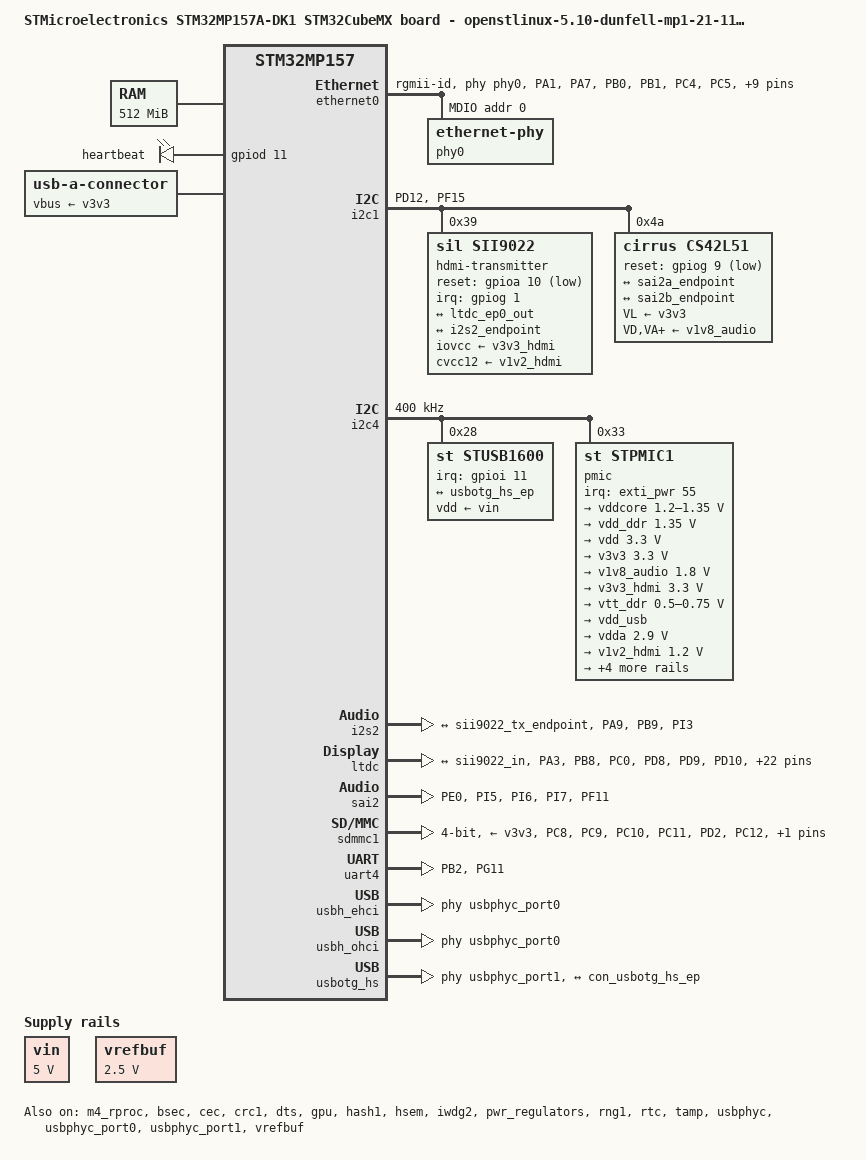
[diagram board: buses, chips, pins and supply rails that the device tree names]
/* SPDX-License-Identifier: (GPL-2.0+ OR BSD-3-Clause) */
/*
 * Copyright (C) STMicroelectronics 2021 - All Rights Reserved
 * Author: STM32CubeMX code generation for STMicroelectronics.
 */

/* For more information on Device Tree configuration, please refer to
 * https://wiki.st.com/stm32mpu/wiki/Category:Device_tree_configuration
 */

/dts-v1/;
#include <dt-bindings/pinctrl/stm32-pinfunc.h>

#include "stm32mp157.dtsi"
#include "stm32mp15xa.dtsi"
#include "stm32mp15xxac-pinctrl.dtsi"
#include "stm32mp15-m4-srm.dtsi"

/* USER CODE BEGIN includes */
#include <dt-bindings/gpio/gpio.h>
#include <dt-bindings/mfd/st,stpmic1.h>
/* USER CODE END includes */

/ {
	model = "STMicroelectronics STM32MP157A-DK1 STM32CubeMX board - openstlinux-5.10-dunfell-mp1-21-11-17";
	compatible = "st,stm32mp157a-dk1-mx", "st,stm32mp157";

	memory@c0000000 {
		device_type = "memory";
		reg = <0xc0000000 0x20000000>;

		/* USER CODE BEGIN memory */
		/* USER CODE END memory */
	};

	reserved-memory {
		#address-cells = <1>;
		#size-cells = <1>;
		ranges;

		/* USER CODE BEGIN reserved-memory */

		mcuram2:mcuram2@10000000{
			compatible = "shared-dma-pool";
			reg = <0x10000000 0x40000>;
			no-map;
		};

		vdev0vring0:vdev0vring0@10040000{
			compatible = "shared-dma-pool";
			reg = <0x10040000 0x1000>;
			no-map;
		};

		vdev0vring1:vdev0vring1@10041000{
			compatible = "shared-dma-pool";
			reg = <0x10041000 0x1000>;
			no-map;
		};

		vdev0buffer:vdev0buffer@10042000{
			compatible = "shared-dma-pool";
			reg = <0x10042000 0x4000>;
			no-map;
		};

		mcu_rsc_table:mcu_rsc_table@10048000{
			compatible = "shared-dma-pool";
			reg = <0x10048000 0x8000>;
			no-map;
		};

		mcuram:mcuram@30000000{
			compatible = "shared-dma-pool";
			reg = <0x30000000 0x40000>;
			no-map;
		};

		retram:retram@38000000{
			compatible = "shared-dma-pool";
			reg = <0x38000000 0x10000>;
			no-map;
		};

		gpu_reserved:gpu@d4000000{
			reg = <0xd4000000 0x4000000>;
			no-map;
		};
		/* USER CODE END reserved-memory */
	};

	/* USER CODE BEGIN root */

	aliases{
		ethernet0 = &ethernet0;
		serial0 = &uart4;
		serial1 = &usart3;
		serial2 = &uart7;
	};

	led{
		compatible = "gpio-leds";

		led-blue{
			label = "heartbeat";
			gpios = <&gpiod 11 GPIO_ACTIVE_HIGH>;
			linux,default-trigger = "heartbeat";
			default-state = "off";
		};
	};

	sound{
		compatible = "audio-graph-card";
		label = "STM32MP15-DK";
		routing = "Playback", "MCLK",
				"Capture", "MCLK",
				"MICL", "Mic Bias";
		dais = <&sai2a_port &sai2b_port &i2s2_port>;
		status = "okay";
	};

	usb_phy_tuning:usb-phy-tuning{
		st,hs-dc-level = <2>;
		st,fs-rftime-tuning;
		st,hs-rftime-reduction;
		st,hs-current-trim = <15>;
		st,hs-impedance-trim = <1>;
		st,squelch-level = <3>;
		st,hs-rx-offset = <2>;
		st,no-lsfs-sc;
	};

	vin:vin{
		compatible = "regulator-fixed";
		regulator-name = "vin";
		regulator-min-microvolt = <5000000>;
		regulator-max-microvolt = <5000000>;
		regulator-always-on;
	};

	chosen{
		stdout-path = "serial0:115200n8";
	};
	/* USER CODE END root */

	clocks {
		/* USER CODE BEGIN clocks */
		/* USER CODE END clocks */

#ifndef CONFIG_TFABOOT
		clk_lsi: clk-lsi {
			clock-frequency = <32000>;
		};
		clk_hsi: clk-hsi {
			clock-frequency = <64000000>;
		};
		clk_csi: clk-csi {
			clock-frequency = <4000000>;
		};
		clk_lse: clk-lse {
			clock-frequency = <32768>;
		};
		clk_hse: clk-hse {
			clock-frequency = <24000000>;
		};
#endif	/*CONFIG_TFABOOT*/
	};

}; /*root*/

&pinctrl {
	u-boot,dm-pre-reloc;

	adc_pins_mx: adc_mx-0 {
		pins {
			pinmux = <STM32_PINMUX('A', 4, ANALOG)>, /* ADC1_INP18 */
					 <STM32_PINMUX('A', 5, ANALOG)>; /* ADC1_INP19 */
		};
	};

	adc_sleep_pins_mx: adc_sleep_mx-0 {
		pins {
			pinmux = <STM32_PINMUX('A', 4, ANALOG)>, /* ADC1_INP18 */
					 <STM32_PINMUX('A', 5, ANALOG)>; /* ADC1_INP19 */
		};
	};

	eth1_pins_mx: eth1_mx-0 {
		pins1 {
			pinmux = <STM32_PINMUX('A', 1, AF11)>, /* ETH1_RX_CLK */
					 <STM32_PINMUX('A', 7, AF11)>, /* ETH1_RX_CTL */
					 <STM32_PINMUX('B', 0, AF11)>, /* ETH1_RXD2 */
					 <STM32_PINMUX('B', 1, AF11)>, /* ETH1_RXD3 */
					 <STM32_PINMUX('C', 4, AF11)>, /* ETH1_RXD0 */
					 <STM32_PINMUX('C', 5, AF11)>; /* ETH1_RXD1 */
			bias-disable;
		};
		pins2 {
			pinmux = <STM32_PINMUX('A', 2, AF11)>; /* ETH1_MDIO */
			bias-disable;
			drive-push-pull;
			slew-rate = <0>;
		};
		pins3 {
			pinmux = <STM32_PINMUX('B', 11, AF11)>, /* ETH1_TX_CTL */
					 <STM32_PINMUX('C', 1, AF11)>, /* ETH1_MDC */
					 <STM32_PINMUX('C', 2, AF11)>, /* ETH1_TXD2 */
					 <STM32_PINMUX('E', 2, AF11)>, /* ETH1_TXD3 */
					 <STM32_PINMUX('G', 4, AF11)>, /* ETH1_GTX_CLK */
					 <STM32_PINMUX('G', 5, AF11)>, /* ETH1_CLK125 */
					 <STM32_PINMUX('G', 13, AF11)>, /* ETH1_TXD0 */
					 <STM32_PINMUX('G', 14, AF11)>; /* ETH1_TXD1 */
			bias-disable;
			drive-push-pull;
			slew-rate = <2>;
		};
	};

	eth1_sleep_pins_mx: eth1_sleep_mx-0 {
		pins {
			pinmux = <STM32_PINMUX('A', 1, ANALOG)>, /* ETH1_RX_CLK */
					 <STM32_PINMUX('A', 2, ANALOG)>, /* ETH1_MDIO */
					 <STM32_PINMUX('A', 7, ANALOG)>, /* ETH1_RX_CTL */
					 <STM32_PINMUX('B', 0, ANALOG)>, /* ETH1_RXD2 */
					 <STM32_PINMUX('B', 1, ANALOG)>, /* ETH1_RXD3 */
					 <STM32_PINMUX('B', 11, ANALOG)>, /* ETH1_TX_CTL */
					 <STM32_PINMUX('C', 1, ANALOG)>, /* ETH1_MDC */
					 <STM32_PINMUX('C', 2, ANALOG)>, /* ETH1_TXD2 */
					 <STM32_PINMUX('C', 4, ANALOG)>, /* ETH1_RXD0 */
					 <STM32_PINMUX('C', 5, ANALOG)>, /* ETH1_RXD1 */
					 <STM32_PINMUX('E', 2, ANALOG)>, /* ETH1_TXD3 */
					 <STM32_PINMUX('G', 4, ANALOG)>, /* ETH1_GTX_CLK */
					 <STM32_PINMUX('G', 5, ANALOG)>, /* ETH1_CLK125 */
					 <STM32_PINMUX('G', 13, ANALOG)>, /* ETH1_TXD0 */
					 <STM32_PINMUX('G', 14, ANALOG)>; /* ETH1_TXD1 */
		};
	};

	hdmi_cec_pins_mx: hdmi_cec_mx-0 {
		pins {
			pinmux = <STM32_PINMUX('B', 6, AF5)>; /* CEC */
			bias-disable;
			drive-open-drain;
			slew-rate = <0>;
		};
	};

	hdmi_cec_sleep_pins_mx: hdmi_cec_sleep_mx-0 {
		pins {
			pinmux = <STM32_PINMUX('B', 6, ANALOG)>; /* CEC */
		};
	};

	i2c1_pins_mx: i2c1_mx-0 {
		pins {
			pinmux = <STM32_PINMUX('D', 12, AF5)>, /* I2C1_SCL */
					 <STM32_PINMUX('F', 15, AF5)>; /* I2C1_SDA */
			bias-disable;
			drive-open-drain;
			slew-rate = <0>;
		};
	};

	i2c1_sleep_pins_mx: i2c1_sleep_mx-0 {
		pins {
			pinmux = <STM32_PINMUX('D', 12, ANALOG)>, /* I2C1_SCL */
					 <STM32_PINMUX('F', 15, ANALOG)>; /* I2C1_SDA */
		};
	};

	i2s2_pins_mx: i2s2_mx-0 {
		pins {
			pinmux = <STM32_PINMUX('A', 9, AF5)>, /* I2S2_CK */
					 <STM32_PINMUX('B', 9, AF5)>, /* I2S2_WS */
					 <STM32_PINMUX('I', 3, AF5)>; /* I2S2_SDO */
			bias-disable;
			drive-push-pull;
			slew-rate = <1>;
		};
	};

	i2s2_sleep_pins_mx: i2s2_sleep_mx-0 {
		pins {
			pinmux = <STM32_PINMUX('A', 9, ANALOG)>, /* I2S2_CK */
					 <STM32_PINMUX('B', 9, ANALOG)>, /* I2S2_WS */
					 <STM32_PINMUX('I', 3, ANALOG)>; /* I2S2_SDO */
		};
	};

	ltdc_pins_mx: ltdc_mx-0 {
		pins {
			pinmux = <STM32_PINMUX('A', 3, AF14)>, /* LTDC_B5 */
					 <STM32_PINMUX('B', 8, AF14)>, /* LTDC_B6 */
					 <STM32_PINMUX('C', 0, AF14)>, /* LTDC_R5 */
					 <STM32_PINMUX('D', 8, AF14)>, /* LTDC_B7 */
					 <STM32_PINMUX('D', 9, AF14)>, /* LTDC_B0 */
					 <STM32_PINMUX('D', 10, AF14)>, /* LTDC_B3 */
					 <STM32_PINMUX('E', 5, AF14)>, /* LTDC_G0 */
					 <STM32_PINMUX('E', 6, AF14)>, /* LTDC_G1 */
					 <STM32_PINMUX('E', 15, AF14)>, /* LTDC_R7 */
					 <STM32_PINMUX('F', 10, AF14)>, /* LTDC_DE */
					 <STM32_PINMUX('G', 7, AF14)>, /* LTDC_CLK */
					 <STM32_PINMUX('G', 10, AF14)>, /* LTDC_B2 */
					 <STM32_PINMUX('G', 12, AF14)>, /* LTDC_B1 */
					 <STM32_PINMUX('H', 2, AF14)>, /* LTDC_R0 */
					 <STM32_PINMUX('H', 3, AF14)>, /* LTDC_R1 */
					 <STM32_PINMUX('H', 8, AF14)>, /* LTDC_R2 */
					 <STM32_PINMUX('H', 9, AF14)>, /* LTDC_R3 */
					 <STM32_PINMUX('H', 10, AF14)>, /* LTDC_R4 */
					 <STM32_PINMUX('H', 12, AF14)>, /* LTDC_R6 */
					 <STM32_PINMUX('H', 13, AF14)>, /* LTDC_G2 */
					 <STM32_PINMUX('H', 14, AF14)>, /* LTDC_G3 */
					 <STM32_PINMUX('H', 15, AF14)>, /* LTDC_G4 */
					 <STM32_PINMUX('I', 0, AF14)>, /* LTDC_G5 */
					 <STM32_PINMUX('I', 1, AF14)>, /* LTDC_G6 */
					 <STM32_PINMUX('I', 2, AF14)>, /* LTDC_G7 */
					 <STM32_PINMUX('I', 4, AF14)>, /* LTDC_B4 */
					 <STM32_PINMUX('I', 9, AF14)>, /* LTDC_VSYNC */
					 <STM32_PINMUX('I', 10, AF14)>; /* LTDC_HSYNC */
			bias-disable;
			drive-push-pull;
			slew-rate = <1>;
		};
	};

	ltdc_sleep_pins_mx: ltdc_sleep_mx-0 {
		pins {
			pinmux = <STM32_PINMUX('A', 3, ANALOG)>, /* LTDC_B5 */
					 <STM32_PINMUX('B', 8, ANALOG)>, /* LTDC_B6 */
					 <STM32_PINMUX('C', 0, ANALOG)>, /* LTDC_R5 */
					 <STM32_PINMUX('D', 8, ANALOG)>, /* LTDC_B7 */
					 <STM32_PINMUX('D', 9, ANALOG)>, /* LTDC_B0 */
					 <STM32_PINMUX('D', 10, ANALOG)>, /* LTDC_B3 */
					 <STM32_PINMUX('E', 5, ANALOG)>, /* LTDC_G0 */
					 <STM32_PINMUX('E', 6, ANALOG)>, /* LTDC_G1 */
					 <STM32_PINMUX('E', 15, ANALOG)>, /* LTDC_R7 */
					 <STM32_PINMUX('F', 10, ANALOG)>, /* LTDC_DE */
					 <STM32_PINMUX('G', 7, ANALOG)>, /* LTDC_CLK */
					 <STM32_PINMUX('G', 10, ANALOG)>, /* LTDC_B2 */
					 <STM32_PINMUX('G', 12, ANALOG)>, /* LTDC_B1 */
					 <STM32_PINMUX('H', 2, ANALOG)>, /* LTDC_R0 */
					 <STM32_PINMUX('H', 3, ANALOG)>, /* LTDC_R1 */
					 <STM32_PINMUX('H', 8, ANALOG)>, /* LTDC_R2 */
					 <STM32_PINMUX('H', 9, ANALOG)>, /* LTDC_R3 */
					 <STM32_PINMUX('H', 10, ANALOG)>, /* LTDC_R4 */
					 <STM32_PINMUX('H', 12, ANALOG)>, /* LTDC_R6 */
					 <STM32_PINMUX('H', 13, ANALOG)>, /* LTDC_G2 */
					 <STM32_PINMUX('H', 14, ANALOG)>, /* LTDC_G3 */
					 <STM32_PINMUX('H', 15, ANALOG)>, /* LTDC_G4 */
					 <STM32_PINMUX('I', 0, ANALOG)>, /* LTDC_G5 */
					 <STM32_PINMUX('I', 1, ANALOG)>, /* LTDC_G6 */
					 <STM32_PINMUX('I', 2, ANALOG)>, /* LTDC_G7 */
					 <STM32_PINMUX('I', 4, ANALOG)>, /* LTDC_B4 */
					 <STM32_PINMUX('I', 9, ANALOG)>, /* LTDC_VSYNC */
					 <STM32_PINMUX('I', 10, ANALOG)>; /* LTDC_HSYNC */
		};
	};

	sai2a_pins_mx: sai2a_mx-0 {
		pins {
			pinmux = <STM32_PINMUX('E', 0, AF10)>, /* SAI2_MCLK_A */
					 <STM32_PINMUX('I', 5, AF10)>, /* SAI2_SCK_A */
					 <STM32_PINMUX('I', 6, AF10)>, /* SAI2_SD_A */
					 <STM32_PINMUX('I', 7, AF10)>; /* SAI2_FS_A */
			bias-disable;
			drive-push-pull;
			slew-rate = <0>;
		};
	};

	sai2a_sleep_pins_mx: sai2a_sleep_mx-0 {
		pins {
			pinmux = <STM32_PINMUX('E', 0, ANALOG)>, /* SAI2_MCLK_A */
					 <STM32_PINMUX('I', 5, ANALOG)>, /* SAI2_SCK_A */
					 <STM32_PINMUX('I', 6, ANALOG)>, /* SAI2_SD_A */
					 <STM32_PINMUX('I', 7, ANALOG)>; /* SAI2_FS_A */
		};
	};

	sai2b_pins_mx: sai2b_mx-0 {
		pins {
			pinmux = <STM32_PINMUX('F', 11, AF10)>; /* SAI2_SD_B */
			bias-disable;
			drive-push-pull;
			slew-rate = <0>;
		};
	};

	sai2b_sleep_pins_mx: sai2b_sleep_mx-0 {
		pins {
			pinmux = <STM32_PINMUX('F', 11, ANALOG)>; /* SAI2_SD_B */
		};
	};

	sdmmc1_pins_mx: sdmmc1_mx-0 {
		u-boot,dm-pre-reloc;
		pins1 {
			u-boot,dm-pre-reloc;
			pinmux = <STM32_PINMUX('C', 8, AF12)>, /* SDMMC1_D0 */
					 <STM32_PINMUX('C', 9, AF12)>, /* SDMMC1_D1 */
					 <STM32_PINMUX('C', 10, AF12)>, /* SDMMC1_D2 */
					 <STM32_PINMUX('C', 11, AF12)>, /* SDMMC1_D3 */
					 <STM32_PINMUX('D', 2, AF12)>; /* SDMMC1_CMD */
			bias-disable;
			drive-push-pull;
			slew-rate = <1>;
		};
		pins2 {
			u-boot,dm-pre-reloc;
			pinmux = <STM32_PINMUX('C', 12, AF12)>; /* SDMMC1_CK */
			bias-disable;
			drive-push-pull;
			slew-rate = <2>;
		};
	};

	sdmmc1_opendrain_pins_mx: sdmmc1_opendrain_mx-0 {
		u-boot,dm-pre-reloc;
		pins1 {
			u-boot,dm-pre-reloc;
			pinmux = <STM32_PINMUX('C', 8, AF12)>, /* SDMMC1_D0 */
					 <STM32_PINMUX('C', 9, AF12)>, /* SDMMC1_D1 */
					 <STM32_PINMUX('C', 10, AF12)>, /* SDMMC1_D2 */
					 <STM32_PINMUX('C', 11, AF12)>; /* SDMMC1_D3 */
			bias-disable;
			drive-push-pull;
			slew-rate = <1>;
		};
		pins2 {
			u-boot,dm-pre-reloc;
			pinmux = <STM32_PINMUX('C', 12, AF12)>; /* SDMMC1_CK */
			bias-disable;
			drive-push-pull;
			slew-rate = <2>;
		};
		pins3 {
			u-boot,dm-pre-reloc;
			pinmux = <STM32_PINMUX('D', 2, AF12)>; /* SDMMC1_CMD */
			bias-disable;
			drive-open-drain;
			slew-rate = <1>;
		};
	};

	sdmmc1_sleep_pins_mx: sdmmc1_sleep_mx-0 {
		u-boot,dm-pre-reloc;
		pins {
			u-boot,dm-pre-reloc;
			pinmux = <STM32_PINMUX('C', 8, ANALOG)>, /* SDMMC1_D0 */
					 <STM32_PINMUX('C', 9, ANALOG)>, /* SDMMC1_D1 */
					 <STM32_PINMUX('C', 10, ANALOG)>, /* SDMMC1_D2 */
					 <STM32_PINMUX('C', 11, ANALOG)>, /* SDMMC1_D3 */
					 <STM32_PINMUX('C', 12, ANALOG)>, /* SDMMC1_CK */
					 <STM32_PINMUX('D', 2, ANALOG)>; /* SDMMC1_CMD */
		};
	};

	uart4_pins_mx: uart4_mx-0 {
		u-boot,dm-pre-reloc;
		pins1 {
			u-boot,dm-pre-reloc;
			pinmux = <STM32_PINMUX('B', 2, AF8)>; /* UART4_RX */
			bias-disable;
		};
		pins2 {
			u-boot,dm-pre-reloc;
			pinmux = <STM32_PINMUX('G', 11, AF6)>; /* UART4_TX */
			bias-disable;
			drive-push-pull;
			slew-rate = <0>;
		};
	};

	uart4_sleep_pins_mx: uart4_sleep_mx-0 {
		u-boot,dm-pre-reloc;
		pins {
			u-boot,dm-pre-reloc;
			pinmux = <STM32_PINMUX('B', 2, ANALOG)>, /* UART4_RX */
					 <STM32_PINMUX('G', 11, ANALOG)>; /* UART4_TX */
		};
	};

	/* USER CODE BEGIN pinctrl */
	/* USER CODE END pinctrl */
};

&pinctrl_z {
	u-boot,dm-pre-reloc;

	i2c4_pins_z_mx: i2c4_mx-0 {
		u-boot,dm-pre-reloc;
		pins {
			u-boot,dm-pre-reloc;
			pinmux = <STM32_PINMUX('Z', 4, AF6)>, /* I2C4_SCL */
					 <STM32_PINMUX('Z', 5, AF6)>; /* I2C4_SDA */
			bias-disable;
			drive-open-drain;
			slew-rate = <0>;
		};
	};

	i2c4_sleep_pins_z_mx: i2c4_sleep_mx-0 {
		u-boot,dm-pre-reloc;
		pins {
			u-boot,dm-pre-reloc;
			pinmux = <STM32_PINMUX('Z', 4, ANALOG)>, /* I2C4_SCL */
					 <STM32_PINMUX('Z', 5, ANALOG)>; /* I2C4_SDA */
		};
	};

	/* USER CODE BEGIN pinctrl_z */
	/* USER CODE END pinctrl_z */
};

&m4_rproc{
	/*Restriction: "memory-region" property is not managed - please to use User-Section if needed*/
	mboxes = <&ipcc 0>, <&ipcc 1>, <&ipcc 2>;
	mbox-names = "vq0", "vq1", "shutdown";
	status = "okay";

	/* USER CODE BEGIN m4_rproc */
	memory-region = <&retram>, <&mcuram>, <&mcuram2>, <&vdev0vring0>,
			<&vdev0vring1>, <&vdev0buffer>, <&mcu_rsc_table>;
	interrupt-parent = <&exti>;
	interrupts = <68 1>;
	wakeup-source;
	/* USER CODE END m4_rproc */
};

&adc{
	pinctrl-names = "default", "sleep";
	pinctrl-0 = <&adc_pins_mx>;
	pinctrl-1 = <&adc_sleep_pins_mx>;
	status = "okay";

	/* USER CODE BEGIN adc */
	vdd-supply = <&vdd>;
	vdda-supply = <&vdd>;
	vref-supply = <&vrefbuf>;

	adc1:adc@0{
		st,min-sample-time-nsecs = <5000>;
		st,adc-channels = <0 1 6 13 18 19>;
		status = "okay";
	};

	adc2:adc@100{
		st,adc-channels = <0 1 2 6 18 19>;
		st,min-sample-time-nsecs = <5000>;
		status = "okay";
	};
	/* USER CODE END adc */
};

&bsec{
	status = "okay";

	/* USER CODE BEGIN bsec */
	/* USER CODE END bsec */
};

&cec{
	pinctrl-names = "default", "sleep";
	pinctrl-0 = <&hdmi_cec_pins_mx>;
	pinctrl-1 = <&hdmi_cec_sleep_pins_mx>;
	status = "okay";

	/* USER CODE BEGIN cec */
	/* USER CODE END cec */
};

&crc1{
	status = "okay";

	/* USER CODE BEGIN crc1 */
	/* USER CODE END crc1 */
};

&dma1{
	status = "okay";

	/* USER CODE BEGIN dma1 */
	sram = <&dma_pool>;
	/* USER CODE END dma1 */
};

&dma2{
	status = "okay";

	/* USER CODE BEGIN dma2 */
	sram = <&dma_pool>;
	/* USER CODE END dma2 */
};

&dmamux1{
	status = "okay";

	dma-masters = <&dma1 &dma2>;
	dma-channels = <16>;

	/* USER CODE BEGIN dmamux1 */
	/* USER CODE END dmamux1 */
};

&dts{
	status = "okay";

	/* USER CODE BEGIN dts */
	/* USER CODE END dts */
};

&ethernet0{
	pinctrl-names = "default", "sleep";
	pinctrl-0 = <&eth1_pins_mx>;
	pinctrl-1 = <&eth1_sleep_pins_mx>;
	status = "okay";

	/* USER CODE BEGIN ethernet0 */
	phy-mode = "rgmii-id";
	max-speed = <1000>;
	phy-handle = <&phy0>;
	nvmem-cells = <&ethernet_mac_address>;
	nvmem-cell-names = "mac-address";

	mdio0{
		#address-cells = <1>;
		#size-cells = <0>;
		compatible = "snps,dwmac-mdio";

		phy0:ethernet-phy@0{
			reg = <0>;
		};
	};
	/* USER CODE END ethernet0 */
};

&gpu{
	status = "okay";

	/* USER CODE BEGIN gpu */
	contiguous-area = <&gpu_reserved>;
	/* USER CODE END gpu */
};

&hash1{
	u-boot,dm-pre-reloc;
	status = "okay";

	/* USER CODE BEGIN hash1 */
	/* USER CODE END hash1 */
};

&hsem{
	status = "okay";

	/* USER CODE BEGIN hsem */
	/* USER CODE END hsem */
};

&i2c1{
	pinctrl-names = "default", "sleep";
	pinctrl-0 = <&i2c1_pins_mx>;
	pinctrl-1 = <&i2c1_sleep_pins_mx>;
	status = "okay";

	/* USER CODE BEGIN i2c1 */
	i2c-scl-rising-time-ns = <100>;
	i2c-scl-falling-time-ns = <7>;
	/delete-property/ dmas;
	/delete-property/ dma-names;

	hdmi-transmitter@39{
		compatible = "sil,sii9022";
		reg = <0x39>;
		iovcc-supply = <&v3v3_hdmi>;
		cvcc12-supply = <&v1v2_hdmi>;
		reset-gpios = <&gpioa 10 GPIO_ACTIVE_LOW>;
		interrupts = <1 IRQ_TYPE_EDGE_FALLING>;
		interrupt-parent = <&gpiog>;
		#sound-dai-cells = <0>;
		status = "okay";

		ports{
			#address-cells = <1>;
			#size-cells = <0>;

			port@0{
				reg = <0>;

				sii9022_in:endpoint{
					remote-endpoint = <&ltdc_ep0_out>;
				};
			};

			port@3{
				reg = <3>;

				sii9022_tx_endpoint:endpoint{
					remote-endpoint = <&i2s2_endpoint>;
				};
			};
		};
	};

	cs42l51:cs42l51@4a{
		compatible = "cirrus,cs42l51";
		reg = <0x4a>;
		#sound-dai-cells = <0>;
		VL-supply = <&v3v3>;
		VD-supply = <&v1v8_audio>;
		VA-supply = <&v1v8_audio>;
		VAHP-supply = <&v1v8_audio>;
		reset-gpios = <&gpiog 9 GPIO_ACTIVE_LOW>;
		clocks = <&sai2a>;
		clock-names = "MCLK";
		status = "okay";

		cs42l51_port:port{
			#address-cells = <1>;
			#size-cells = <0>;

			cs42l51_tx_endpoint:endpoint@0{
				reg = <0>;
				remote-endpoint = <&sai2a_endpoint>;
				frame-master;
				bitclock-master;
			};

			cs42l51_rx_endpoint:endpoint@1{
				reg = <1>;
				remote-endpoint = <&sai2b_endpoint>;
				frame-master;
				bitclock-master;
			};
		};
	};
	/* USER CODE END i2c1 */
};

&i2c4{
	u-boot,dm-pre-reloc;
	pinctrl-names = "default", "sleep";
	pinctrl-0 = <&i2c4_pins_z_mx>;
	pinctrl-1 = <&i2c4_sleep_pins_z_mx>;
	status = "okay";

	/* USER CODE BEGIN i2c4 */
	i2c-scl-rising-time-ns = <185>;
	i2c-scl-falling-time-ns = <20>;
	clock-frequency = <400000>;
	/delete-property/ dmas;
	/delete-property/ dma-names;

	stusb1600@28{
		compatible = "st,stusb1600";
		reg = <0x28>;
		interrupts = <11 IRQ_TYPE_LEVEL_LOW>;
		interrupt-parent = <&gpioi>;
		pinctrl-names = "default";
		pinctrl-0 = <&stusb1600_pins_a>;
		status = "okay";
		vdd-supply = <&vin>;

		connector{
			compatible = "usb-c-connector";
			label = "USB-C";
			power-role = "dual";
			typec-power-opmode = "default";

			port{

				con_usbotg_hs_ep:endpoint{
					remote-endpoint = <&usbotg_hs_ep>;
				};
			};
		};
	};

	pmic:stpmic@33{
		compatible = "st,stpmic1";
		reg = <0x33>;
		interrupts-extended = <&exti_pwr 55 IRQ_TYPE_EDGE_FALLING>;
		interrupt-controller;
		#interrupt-cells = <2>;
		status = "okay";

		regulators{
			compatible = "st,stpmic1-regulators";
			buck1-supply = <&vin>;
			buck2-supply = <&vin>;
			buck3-supply = <&vin>;
			buck4-supply = <&vin>;
			ldo1-supply = <&v3v3>;
			ldo2-supply = <&vin>;
			ldo3-supply = <&vdd_ddr>;
			ldo4-supply = <&vin>;
			ldo5-supply = <&vin>;
			ldo6-supply = <&v3v3>;
			vref_ddr-supply = <&vin>;
			boost-supply = <&vin>;
			pwr_sw1-supply = <&bst_out>;
			pwr_sw2-supply = <&bst_out>;

			vddcore:buck1{
				regulator-name = "vddcore";
				regulator-min-microvolt = <1200000>;
				regulator-max-microvolt = <1350000>;
				regulator-always-on;
				regulator-initial-mode = <0>;
				regulator-over-current-protection;
			};

			vdd_ddr:buck2{
				regulator-name = "vdd_ddr";
				regulator-min-microvolt = <1350000>;
				regulator-max-microvolt = <1350000>;
				regulator-always-on;
				regulator-initial-mode = <0>;
				regulator-over-current-protection;
			};

			vdd:buck3{
				regulator-name = "vdd";
				regulator-min-microvolt = <3300000>;
				regulator-max-microvolt = <3300000>;
				regulator-always-on;
				st,mask-reset;
				regulator-initial-mode = <0>;
				regulator-over-current-protection;
			};

			v3v3:buck4{
				regulator-name = "v3v3";
				regulator-min-microvolt = <3300000>;
				regulator-max-microvolt = <3300000>;
				regulator-always-on;
				regulator-over-current-protection;
				regulator-initial-mode = <0>;
			};

			v1v8_audio:ldo1{
				regulator-name = "v1v8_audio";
				regulator-min-microvolt = <1800000>;
				regulator-max-microvolt = <1800000>;
				regulator-always-on;
				interrupts = <IT_CURLIM_LDO1 0>;
			};

			v3v3_hdmi:ldo2{
				regulator-name = "v3v3_hdmi";
				regulator-min-microvolt = <3300000>;
				regulator-max-microvolt = <3300000>;
				regulator-always-on;
				interrupts = <IT_CURLIM_LDO2 0>;
			};

			vtt_ddr:ldo3{
				regulator-name = "vtt_ddr";
				regulator-min-microvolt = <500000>;
				regulator-max-microvolt = <750000>;
				regulator-always-on;
				regulator-over-current-protection;
			};

			vdd_usb:ldo4{
				regulator-name = "vdd_usb";
				interrupts = <IT_CURLIM_LDO4 0>;
			};

			vdda:ldo5{
				regulator-name = "vdda";
				regulator-min-microvolt = <2900000>;
				regulator-max-microvolt = <2900000>;
				interrupts = <IT_CURLIM_LDO5 0>;
				regulator-boot-on;
			};

			v1v2_hdmi:ldo6{
				regulator-name = "v1v2_hdmi";
				regulator-min-microvolt = <1200000>;
				regulator-max-microvolt = <1200000>;
				regulator-always-on;
				interrupts = <IT_CURLIM_LDO6 0>;
			};

			vref_ddr:vref_ddr{
				regulator-name = "vref_ddr";
				regulator-always-on;
				regulator-over-current-protection;
			};

			bst_out:boost{
				regulator-name = "bst_out";
				interrupts = <IT_OCP_BOOST 0>;
			};

			vbus_otg:pwr_sw1{
				regulator-name = "vbus_otg";
				interrupts = <IT_OCP_OTG 0>;
			};

			vbus_sw:pwr_sw2{
				regulator-name = "vbus_sw";
				interrupts = <IT_OCP_SWOUT 0>;
				regulator-active-discharge = <1>;
			};
		};

		onkey{
			compatible = "st,stpmic1-onkey";
			interrupts = <IT_PONKEY_F 0>, <IT_PONKEY_R 0>;
			interrupt-names = "onkey-falling", "onkey-rising";
			power-off-time-sec = <10>;
			status = "okay";
		};

		watchdog{
			compatible = "st,stpmic1-wdt";
			status = "disabled";
		};
	};
	/* USER CODE END i2c4 */
};

&i2s2{
	pinctrl-names = "default", "sleep";
	pinctrl-0 = <&i2s2_pins_mx>;
	pinctrl-1 = <&i2s2_sleep_pins_mx>;
	status = "okay";

	/* USER CODE BEGIN i2s2 */
	clocks = <&rcc SPI2>, <&rcc SPI2_K>, <&rcc PLL3_Q>, <&rcc PLL3_R>;
	clock-names = "pclk", "i2sclk", "x8k", "x11k";

	i2s2_port:port{

		i2s2_endpoint:endpoint{
			remote-endpoint = <&sii9022_tx_endpoint>;
			format = "i2s";
			mclk-fs = <256>;
		};
	};
	/* USER CODE END i2s2 */
};

&ipcc{
	status = "okay";

	/* USER CODE BEGIN ipcc */
	/* USER CODE END ipcc */
};

&iwdg2{
	u-boot,dm-pre-reloc;
	status = "okay";

	/* USER CODE BEGIN iwdg2 */
	timeout-sec = <32>;
	/* USER CODE END iwdg2 */
};

&ltdc{
	pinctrl-names = "default", "sleep";
	pinctrl-0 = <&ltdc_pins_mx>;
	pinctrl-1 = <&ltdc_sleep_pins_mx>;
	status = "okay";

	/* USER CODE BEGIN ltdc */

	port{

		ltdc_ep0_out:endpoint@0{
			reg = <0>;
			remote-endpoint = <&sii9022_in>;
		};
	};
	/* USER CODE END ltdc */
};

&mdma1{
	status = "okay";

	/* USER CODE BEGIN mdma1 */
	/* USER CODE END mdma1 */
};

&pwr_regulators{
	status = "okay";

	/* USER CODE BEGIN pwr_regulators */
	vdd-supply = <&vdd>;
	vdd_3v3_usbfs-supply = <&vdd_usb>;
	/* USER CODE END pwr_regulators */
};

&rcc{
	u-boot,dm-pre-reloc;
	status = "okay";

	/* USER CODE BEGIN rcc */
	/* USER CODE END rcc */
};

&rng1{
	status = "okay";

	/* USER CODE BEGIN rng1 */
	/* USER CODE END rng1 */
};

&rtc{
	status = "okay";

	/* USER CODE BEGIN rtc */
	/* USER CODE END rtc */
};

&sai2{
	pinctrl-names = "default", "sleep";
	pinctrl-0 = <&sai2a_pins_mx>, <&sai2b_pins_mx>;
	pinctrl-1 = <&sai2a_sleep_pins_mx>, <&sai2b_sleep_pins_mx>;
	status = "okay";

	/* USER CODE BEGIN sai2 */
	clocks = <&rcc SAI2>, <&rcc PLL3_Q>, <&rcc PLL3_R>;
	clock-names = "pclk", "x8k", "x11k";
	/* USER CODE END sai2 */

	sai2a:audio-controller@4400b004{
		status = "okay";

		/* USER CODE BEGIN sai2a */
		#clock-cells = <0>;
		dma-names = "tx";

		sai2a_port:port{

			sai2a_endpoint:endpoint{
				remote-endpoint = <&cs42l51_tx_endpoint>;
				format = "i2s";
				mclk-fs = <256>;
				dai-tdm-slot-num = <2>;
				dai-tdm-slot-width = <32>;
			};
		};
		/* USER CODE END sai2a */
	};

	sai2b:audio-controller@4400b024{
		status = "okay";

		/* USER CODE BEGIN sai2b */
		dma-names = "rx";
		st,sync = <&sai2a 2>;
		clocks = <&rcc SAI2_K>, <&sai2a>;
		clock-names = "sai_ck", "MCLK";

		sai2b_port:port{

			sai2b_endpoint:endpoint{
				remote-endpoint = <&cs42l51_rx_endpoint>;
				format = "i2s";
				mclk-fs = <256>;
				dai-tdm-slot-num = <2>;
				dai-tdm-slot-width = <32>;
			};
		};
		/* USER CODE END sai2b */
	};
};

&sdmmc1{
	u-boot,dm-pre-reloc;
	pinctrl-names = "default", "opendrain", "sleep";
	pinctrl-0 = <&sdmmc1_pins_mx>;
	pinctrl-1 = <&sdmmc1_opendrain_pins_mx>;
	pinctrl-2 = <&sdmmc1_sleep_pins_mx>;
	status = "okay";

	/* USER CODE BEGIN sdmmc1 */
	cd-gpios = <&gpiob 7 (GPIO_ACTIVE_LOW | GPIO_PULL_UP)>;
	disable-wp;
	st,neg-edge;
	bus-width = <4>;
	vmmc-supply = <&v3v3>;
	/* USER CODE END sdmmc1 */
};

&tamp{
	status = "okay";

	/* USER CODE BEGIN tamp */
	/* USER CODE END tamp */
};

&uart4{
	u-boot,dm-pre-reloc;
	pinctrl-names = "default", "sleep";
	pinctrl-0 = <&uart4_pins_mx>;
	pinctrl-1 = <&uart4_sleep_pins_mx>;
	status = "okay";

	/* USER CODE BEGIN uart4 */
	/delete-property/ dmas;
	/delete-property/ dma-names;
	/* USER CODE END uart4 */
};

&usbh_ehci{
	status = "okay";

	/* USER CODE BEGIN usbh_ehci */
	phys = <&usbphyc_port0>;
	/* USER CODE END usbh_ehci */
};

&usbh_ohci{
	status = "okay";

	/* USER CODE BEGIN usbh_ohci */
	/* USER CODE END usbh_ohci */
};

&usbotg_hs{
	u-boot,dm-pre-reloc;
	status = "okay";

	/* USER CODE BEGIN usbotg_hs */
	phys = <&usbphyc_port1 0>;
	phy-names = "usb2-phy";
	usb-role-switch;

	port{

		usbotg_hs_ep:endpoint{
			remote-endpoint = <&con_usbotg_hs_ep>;
		};
	};
	/* USER CODE END usbotg_hs */
};

&usbphyc{
	u-boot,dm-pre-reloc;
	status = "okay";

	/* USER CODE BEGIN usbphyc */
	/* USER CODE END usbphyc */
};

&usbphyc_port0{
	u-boot,dm-pre-reloc;
	status = "okay";

	/* USER CODE BEGIN usbphyc_port0 */
	phy-supply = <&vdd_usb>;
	st,phy-tuning = <&usb_phy_tuning>;

	connector{
		compatible = "usb-a-connector";
		vbus-supply = <&v3v3>;
	};
	/* USER CODE END usbphyc_port0 */
};

&usbphyc_port1{
	u-boot,dm-pre-reloc;
	status = "okay";

	/* USER CODE BEGIN usbphyc_port1 */
	phy-supply = <&vdd_usb>;
	st,phy-tuning = <&usb_phy_tuning>;
	/* USER CODE END usbphyc_port1 */
};

&vrefbuf{
	status = "okay";

	/* USER CODE BEGIN vrefbuf */
	regulator-min-microvolt = <2500000>;
	regulator-max-microvolt = <2500000>;
	vdda-supply = <&vdd>;
	/* USER CODE END vrefbuf */
};

/* USER CODE BEGIN addons */

&cpu0{
	cpu-supply = <&vddcore>;
};

&cpu1{
	cpu-supply = <&vddcore>;
};

&sram{

	dma_pool:dma_pool@0{
		reg = <0x50000 0x10000>;
		pool;
	};
};

&adc {
	status = "disabled";
};

&pinctrl{
	stusb1600_pins_a:stusb1600-0{

		pins{
			bias-pull-up;
			pinmux = <STM32_PINMUX('I', 11, ANALOG)>;
		};
	};
};

&usbh_ohci{
	phys = <&usbphyc_port0>;
};
/* USER CODE END addons */

